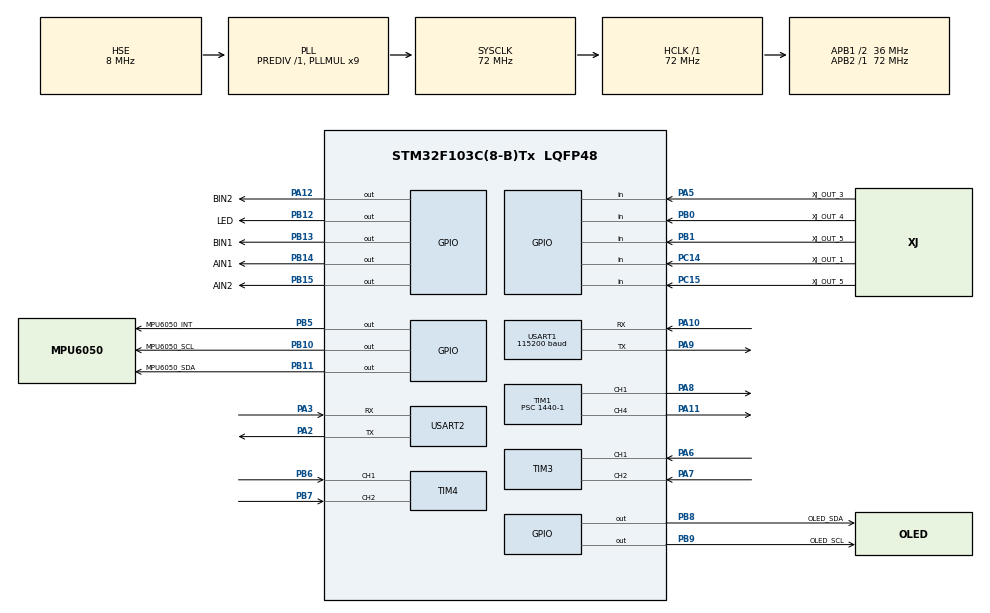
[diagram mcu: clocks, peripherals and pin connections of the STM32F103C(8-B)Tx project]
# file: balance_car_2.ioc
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Mcu.Family=STM32F1
Mcu.Name=STM32F103C(8-B)Tx
Mcu.Package=LQFP48
NVIC.PriorityGroup=NVIC_PRIORITYGROUP_4
NVIC.TIM1_UP_IRQn=true\:0\:0\:false\:false\:true\:true\:true\:true
NVIC.TIM3_IRQn=true\:0\:0\:false\:false\:true\:true\:true\:true
NVIC.TIM4_IRQn=true\:0\:0\:false\:false\:true\:true\:true\:true
NVIC.USART1_IRQn=true\:0\:0\:false\:false\:true\:true\:true\:true
PA10.Mode=Asynchronous
PA10.Signal=USART1_RX
PA11.Signal=S_TIM1_CH4
PA12.GPIO_Label=BIN2
PA12.Signal=GPIO_Output
PA13.Mode=Serial_Wire
PA13.Signal=SYS_JTMS-SWDIO
PA14.Mode=Serial_Wire
PA14.Signal=SYS_JTCK-SWCLK
PA2.Mode=Asynchronous
PA2.Signal=USART2_TX
PA3.Mode=Asynchronous
PA3.Signal=USART2_RX
PA5.GPIO_Label=XJ_OUT_3
PA5.Signal=GPIO_Input
PA6.GPIO_PuPd=GPIO_PULLUP
PA6.Signal=S_TIM3_CH1
PA7.GPIO_PuPd=GPIO_PULLUP
PA7.Signal=S_TIM3_CH2
PA8.Signal=S_TIM1_CH1
PA9.Mode=Asynchronous
PA9.Signal=USART1_TX
PB0.GPIO_Label=XJ_OUT_4
PB0.Signal=GPIO_Input
PB1.GPIO_Label=XJ_OUT_5
PB1.Signal=GPIO_Input
PB10.GPIO_Label=MPU6050_SCL
PB10.Signal=GPIO_Output
PB11.GPIO_Label=MPU6050_SDA
PB11.Signal=GPIO_Output
PB12.GPIO_Label=LED
PB12.Signal=GPIO_Output
PB13.GPIO_Label=BIN1
PB13.Signal=GPIO_Output
PB14.GPIO_Label=AIN1
PB14.Signal=GPIO_Output
PB15.GPIO_Label=AIN2
PB15.Signal=GPIO_Output
PB5.GPIO_Label=MPU6050_INT
PB5.Signal=GPIO_Output
PB6.GPIO_PuPd=GPIO_PULLUP
PB6.Signal=S_TIM4_CH1
PB7.GPIO_PuPd=GPIO_PULLUP
PB7.Signal=S_TIM4_CH2
PB8.GPIO_Label=OLED_SDA
PB8.GPIO_PuPd=GPIO_PULLUP
PB8.PinState=GPIO_PIN_SET
PB8.Signal=GPIO_Output
PB9.GPIO_Label=OLED_SCL
PB9.GPIO_PuPd=GPIO_PULLUP
PB9.PinState=GPIO_PIN_SET
PB9.Signal=GPIO_Output
PC14-OSC32_IN.GPIO_Label=XJ_OUT_1
PC14-OSC32_IN.Signal=GPIO_Input
PC15-OSC32_OUT.GPIO_Label=XJ_OUT_5
PC15-OSC32_OUT.Signal=GPIO_Input
PD0-OSC_IN.Mode=HSE-External-Oscillator
PD0-OSC_IN.Signal=RCC_OSC_IN
PD1-OSC_OUT.Mode=HSE-External-Oscillator
PD1-OSC_OUT.Signal=RCC_OSC_OUT
ProjectManager.HeapSize=0x800
ProjectManager.StackSize=0x800
ProjectManager.TargetToolchain=MDK-ARM V5.32
RCC.AHBFreq_Value=72000000
RCC.APB1CLKDivider=RCC_HCLK_DIV2
RCC.APB1Freq_Value=36000000
RCC.APB1TimFreq_Value=72000000
RCC.APB2Freq_Value=72000000
RCC.APB2TimFreq_Value=72000000
RCC.HCLKFreq_Value=72000000
RCC.PLLMUL=RCC_PLL_MUL9
RCC.PLLSourceVirtual=RCC_PLLSOURCE_HSE
RCC.SYSCLKFreq_VALUE=72000000
RCC.SYSCLKSource=RCC_SYSCLKSOURCE_PLLCLK
RCC.USBFreq_Value=72000000
SH.S_TIM1_CH1.0=TIM1_CH1,PWM Generation1 CH1
SH.S_TIM1_CH4.0=TIM1_CH4,PWM Generation4 CH4
SH.S_TIM3_CH1.0=TIM3_CH1,Encoder_Interface
SH.S_TIM3_CH2.0=TIM3_CH2,Encoder_Interface
SH.S_TIM4_CH1.0=TIM4_CH1,Encoder_Interface
SH.S_TIM4_CH2.0=TIM4_CH2,Encoder_Interface
TIM1.AutoReloadPreload=TIM_AUTORELOAD_PRELOAD_ENABLE
TIM1.Channel-PWM\ Generation1\ CH1=TIM_CHANNEL_1
TIM1.Channel-PWM\ Generation4\ CH4=TIM_CHANNEL_4
TIM1.Period=100-1
TIM1.Prescaler=1440-1
TIM1.Pulse-PWM\ Generation1\ CH1=50
TIM1.Pulse-PWM\ Generation4\ CH4=50
TIM3.EncoderMode=TIM_ENCODERMODE_TI12
TIM3.IC1Filter=6
TIM3.IC2Filter=6
TIM4.EncoderMode=TIM_ENCODERMODE_TI12
TIM4.IC1Filter=6
TIM4.IC2Filter=6
USART1.BaudRate=115200
USART1.VirtualMode=VM_ASYNC
USART2.VirtualMode=VM_ASYNC
VP_TIM1_VS_ClockSourceINT.Mode=Internal
board=custom

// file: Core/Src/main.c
/* USER CODE BEGIN Header */
/**
 ******************************************************************************
 * @file           : main.c
 * @brief          : Main program body
 ******************************************************************************
 * @attention
 *
 * Copyright (c) 2023 STMicroelectronics.
 * All rights reserved.
 *
 * This software is licensed under terms that can be found in the LICENSE file
 * in the root directory of this software component.
 * If no LICENSE file comes with this software, it is provided AS-IS.
 *
 ******************************************************************************
 */
/* USER CODE END Header */
#include "main.h"
#include "tim.h"
#include "usart.h"
#include "gpio.h"

/* USER CODE BEGIN Includes */
#include "stdio.h"
#include "oled.h"
#include "motor.h"
#include "niming.h"
#include "pid.h"
#include "cJSON.h"
#include "string.h"
/* USER CODE END Includes */

/* USER CODE BEGIN PV */
extern float Motor1Speed;
extern float Motor2Speed;
int Motor1Pwm;
int Motor2Pwm;

extern tPid pidMotor1Speed;
extern uint8_t Usart1_ReadBuf[255]; // 串口1 缓冲数组
float p, i, d, a;
/* USER CODE END PV */

void SystemClock_Config(void);
/* USER CODE BEGIN PFP */
uint8_t Usart_WaitReasFinish(void);
/* USER CODE END PFP */

int main(void)
{

  /* MCU Configuration--------------------------------------------------------*/

  /* Reset of all peripherals, Initializes the Flash interface and the Systick. */
  HAL_Init();

  /* Configure the system clock */
  SystemClock_Config();

  /* Initialize all configured peripherals */
  MX_GPIO_Init();
  MX_TIM1_Init();
  MX_TIM4_Init();
  MX_USART1_UART_Init();
  MX_USART2_UART_Init();
  MX_TIM3_Init();
  /* USER CODE BEGIN 2 */
    OLED_Init(); // 初始化OLED
    OLED_Clear();
    HAL_TIM_PWM_Start(&htim1, TIM_CHANNEL_1);       // 开启定时器1 通道1 PWM输出
    HAL_TIM_PWM_Start(&htim1, TIM_CHANNEL_4);       // 开启定时器1 通道4 PWM输出
    HAL_TIM_Encoder_Start(&htim3, TIM_CHANNEL_ALL); // 开启定时器3
    HAL_TIM_Encoder_Start(&htim4, TIM_CHANNEL_ALL); // 开启定时器4
    HAL_TIM_Base_Start_IT(&htim3);                  // 开启定时器3 中断
    HAL_TIM_Base_Start_IT(&htim4);                  // 开启定时器4 中断

    HAL_TIM_Base_Start_IT(&htim1);               // 开启定时器1 中断
    __HAL_UART_ENABLE_IT(&huart1, UART_IT_RXNE); // 开启串口1接收中断
    PID_init();
    cJSON *cJsonData, *cJsonVlaue;
  /* USER CODE END 2 */

  /* Infinite loop */
  /* USER CODE BEGIN WHILE */
    while (1)
    {
        OLED_ShowCHinese(0, 0, 0);   // 中
        OLED_ShowCHinese(18, 0, 1);  // 景
        OLED_ShowCHinese(36, 0, 2);  // 园
        OLED_ShowCHinese(54, 0, 3);  // 电
        OLED_ShowCHinese(72, 0, 4);  // 子
        OLED_ShowCHinese(90, 0, 5);  // 科
        OLED_ShowCHinese(108, 0, 6); // 技
        //	uint8_t c_Data[] = "test\r\n";
        //	HAL_UART_Transmit(&huart1,c_Data,sizeof(c_Data),0xFFFF);
        //	HAL_Delay(1000);
        printf("Motor1Speed:%.2f\r\n", Motor1Speed);
        printf("Motor2Speed:%.2f\r\n", Motor2Speed);
    /* USER CODE END WHILE */

    /* USER CODE BEGIN 3 */
        Motor_Set(PID_realize(&pidMotor1Speed, Motor1Speed), Motor2Pwm);

        //	printf("Motor1Speed:%.2f Motor1Pwm:%d\r\n",Motor1Speed,Motor1Pwm);
        //	printf("Motor2Speed:%.2f Motor2Pwm:%d\r\n",Motor2Speed,Motor2Pwm);
        HAL_Delay(10);

        ANO_DT_Send_F2(Motor1Speed * 100, 3.0 * 100, Motor2Speed * 100, 3.0 * 100);

        if (Usart_WaitReasFinish() == 0) // 是否接收完毕
        {
            cJsonData = cJSON_Parse((const char *)Usart1_ReadBuf);
            if (cJSON_GetObjectItem(cJsonData, "p") != NULL)
            {
                cJsonVlaue = cJSON_GetObjectItem(cJsonData, "p");
                p = cJsonVlaue->valuedouble;
                pidMotor1Speed.Kp = p;
            }
            if (cJSON_GetObjectItem(cJsonData, "i") != NULL)
            {
                cJsonVlaue = cJSON_GetObjectItem(cJsonData, "i");
                i = cJsonVlaue->valuedouble;
                pidMotor1Speed.Ki = i;
            }
            if (cJSON_GetObjectItem(cJsonData, "d") != NULL)
            {
                cJsonVlaue = cJSON_GetObjectItem(cJsonData, "d");
                d = cJsonVlaue->valuedouble;
                pidMotor1Speed.Kd = d;
            }
            if (cJSON_GetObjectItem(cJsonData, "a") != NULL)
            {

                cJsonVlaue = cJSON_GetObjectItem(cJsonData, "a");
                a = cJsonVlaue->valuedouble;
                pidMotor1Speed.target_val = a;
            }
            if (cJsonData != NULL)
            {
                cJSON_Delete(cJsonData); // 释放空间、但是不能删除cJsonVlaue不然会 出现异常错误
            }
            memset(Usart1_ReadBuf, 0, 255); // 清空接收buf，注意这里不能使用strlen
        }
        printf("P:%.3f  I:%.3f  D:%.3f A:%.3f\r\n", p, i, d, a);
    }
  /* USER CODE END 3 */
}

void SystemClock_Config(void)
{
  RCC_OscInitTypeDef RCC_OscInitStruct = {0};
  RCC_ClkInitTypeDef RCC_ClkInitStruct = {0};

  /** Initializes the RCC Oscillators according to the specified parameters
  * in the RCC_OscInitTypeDef structure.
  */
  RCC_OscInitStruct.OscillatorType = RCC_OSCILLATORTYPE_HSE;
  RCC_OscInitStruct.HSEState = RCC_HSE_ON;
  RCC_OscInitStruct.HSEPredivValue = RCC_HSE_PREDIV_DIV1;
  RCC_OscInitStruct.HSIState = RCC_HSI_ON;
  RCC_OscInitStruct.PLL.PLLState = RCC_PLL_ON;
  RCC_OscInitStruct.PLL.PLLSource = RCC_PLLSOURCE_HSE;
  RCC_OscInitStruct.PLL.PLLMUL = RCC_PLL_MUL9;
  if (HAL_RCC_OscConfig(&RCC_OscInitStruct) != HAL_OK)
  {
    Error_Handler();
  }

  /** Initializes the CPU, AHB and APB buses clocks
  */
  RCC_ClkInitStruct.ClockType = RCC_CLOCKTYPE_HCLK|RCC_CLOCKTYPE_SYSCLK
                              |RCC_CLOCKTYPE_PCLK1|RCC_CLOCKTYPE_PCLK2;
  RCC_ClkInitStruct.SYSCLKSource = RCC_SYSCLKSOURCE_PLLCLK;
  RCC_ClkInitStruct.AHBCLKDivider = RCC_SYSCLK_DIV1;
  RCC_ClkInitStruct.APB1CLKDivider = RCC_HCLK_DIV2;
  RCC_ClkInitStruct.APB2CLKDivider = RCC_HCLK_DIV1;

  if (HAL_RCC_ClockConfig(&RCC_ClkInitStruct, FLASH_LATENCY_2) != HAL_OK)
  {
    Error_Handler();
  }
}

void Error_Handler(void)
{
    __disable_irq();
    while (1)
    {
    }
}
